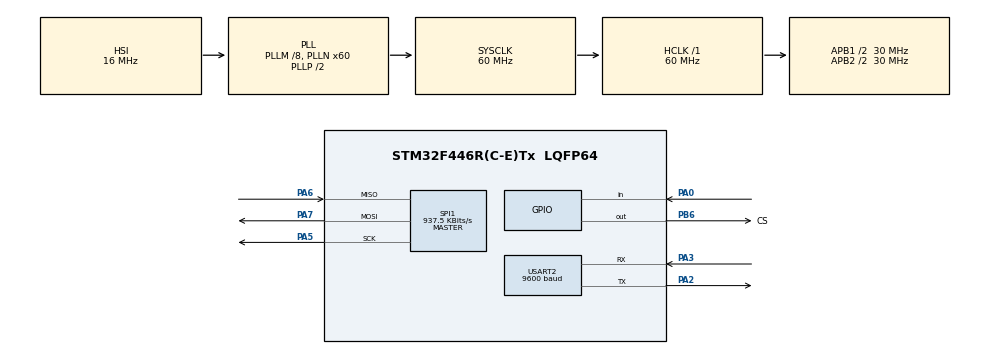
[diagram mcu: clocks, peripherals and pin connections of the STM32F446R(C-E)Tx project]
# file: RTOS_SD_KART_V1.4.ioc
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FREERTOS.Tasks01=defaultTask,0,128,StartDefaultTask,Default,NULL,Dynamic,NULL,NULL
FREERTOS.configUSE_NEWLIB_REENTRANT=1
Mcu.Family=STM32F4
Mcu.Name=STM32F446R(C-E)Tx
Mcu.Package=LQFP64
NVIC.PriorityGroup=NVIC_PRIORITYGROUP_4
NVIC.TIM1_UP_TIM10_IRQn=true\:5\:0\:false\:false\:true\:true\:true\:true\:true
NVIC.TIM6_DAC_IRQn=true\:15\:0\:false\:false\:true\:false\:false\:true\:true
NVIC.TimeBase=TIM6_DAC_IRQn
NVIC.TimeBaseIP=TIM6
PA0-WKUP.Signal=GPIO_Input
PA2.Mode=Asynchronous
PA2.Signal=USART2_TX
PA3.Mode=Asynchronous
PA3.Signal=USART2_RX
PA5.Mode=Full_Duplex_Master
PA5.Signal=SPI1_SCK
PA6.Mode=Full_Duplex_Master
PA6.Signal=SPI1_MISO
PA7.Mode=Full_Duplex_Master
PA7.Signal=SPI1_MOSI
PB6.GPIO_Label=CS
PB6.Signal=GPIO_Output
PH0-OSC_IN.Mode=HSE-External-Oscillator
PH0-OSC_IN.Signal=RCC_OSC_IN
PH1-OSC_OUT.Mode=HSE-External-Oscillator
PH1-OSC_OUT.Signal=RCC_OSC_OUT
ProjectManager.HeapSize=0x200
ProjectManager.StackSize=0x400
ProjectManager.TargetToolchain=STM32CubeIDE
RCC.AHBFreq_Value=60000000
RCC.APB1CLKDivider=RCC_HCLK_DIV2
RCC.APB1Freq_Value=30000000
RCC.APB1TimFreq_Value=60000000
RCC.APB2CLKDivider=RCC_HCLK_DIV2
RCC.APB2Freq_Value=30000000
RCC.APB2TimFreq_Value=60000000
RCC.CortexFreq_Value=60000000
RCC.FLatency-AdvancedSettings=FLASH_LATENCY_1
RCC.HCLKFreq_Value=60000000
RCC.HSE_VALUE=8000000
RCC.HSI_VALUE=16000000
RCC.LSE_VALUE=32768
RCC.PLLM=8
RCC.PLLN=60
RCC.SYSCLKFreq_VALUE=60000000
RCC.SYSCLKSource=RCC_SYSCLKSOURCE_PLLCLK
RCC.USBFreq_Value=60000000
RCC.VCOOutputFreq_Value=120000000
SPI1.BaudRatePrescaler=SPI_BAUDRATEPRESCALER_32
SPI1.CalculateBaudRate=937.5 KBits/s
SPI1.Direction=SPI_DIRECTION_2LINES
SPI1.Mode=SPI_MODE_MASTER
SPI1.VirtualType=VM_MASTER
TIM1.Period=2000-1
TIM1.Prescaler=60000-1
TIM1.TIM_MasterOutputTrigger=TIM_TRGO_UPDATE
TIM7.Period=0xffff-1
TIM7.Prescaler=60-1
USART2.BaudRate=9600
USART2.VirtualMode=VM_ASYNC
VP_FATFS_VS_Generic.Mode=User_defined
VP_FREERTOS_VS_CMSIS_V1.Mode=CMSIS_V1
VP_SYS_VS_tim6.Mode=TIM6
VP_TIM1_VS_ClockSourceINT.Mode=Internal
VP_TIM7_VS_ClockSourceINT.Mode=Enable_Timer
board=NUCLEO-F446RE

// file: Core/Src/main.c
/* USER CODE BEGIN Header */
/**
  ******************************************************************************
  * @file           : main.c
  * @brief          : Main program body
  ******************************************************************************
  * @attention
  *
  * Copyright (c) 2024 STMicroelectronics.
  * All rights reserved.
  *
  * This software is licensed under terms that can be found in the LICENSE file
  * in the root directory of this software component.
  * If no LICENSE file comes with this software, it is provided AS-IS.
  *
  ******************************************************************************
  */
/* USER CODE END Header */
#include "main.h"
#include "cmsis_os.h"
#include "fatfs.h"

/* USER CODE BEGIN Includes */
#include "FreeRTOS.h"
#include "task.h"
#include "timers.h"
#include "queue.h"
#include "semphr.h"
#include "event_groups.h"

#include "DHT11.h"
#include "File_Handling_RTOS.h"
#include "UART.h"
/* USER CODE END Includes */

SPI_HandleTypeDef hspi1;

TIM_HandleTypeDef htim1;
TIM_HandleTypeDef htim7;

UART_HandleTypeDef huart2;

osThreadId defaultTaskHandle;

void SystemClock_Config(void);
static void MX_GPIO_Init(void);
static void MX_SPI1_Init(void);
static void MX_TIM1_Init(void);
static void MX_TIM7_Init(void);
static void MX_USART2_UART_Init(void);
void StartDefaultTask(void const * argument);

/* USER CODE BEGIN 0 */
int Temperature = 0;
int  Humidity = 0;

xTaskHandle DHT_Task_Handler;
xTaskHandle SDCARD_Task_Handler;

uint8_t data_ready = 0;

void DHT_Task(void *argument) {

	char uart_buffer[2] = {0};
	char hum_buffer[2] = {0};

    while (1) {

        DHT11_Get_Data(&Temperature, &Humidity);
        data_ready = 1;  // Veri hazır bayrağını set et

        sprintf(uart_buffer, "%d", Temperature);
        SendTemperaturePacket((uint8_t*)uart_buffer,2);
        vTaskDelay(500);

        sprintf(hum_buffer, "%d", Humidity);
        SendHumidityPacket((uint8_t*)hum_buffer,2);
        vTaskDelay(500);

    }
}

void SDCARD_Task(void *argument) {

    int indx = 1;
    char buffer[50];

    while (1) {
        if (data_ready) {  // Veri hazırsa SD karta yaz
            Mount_SD("/");
            sprintf(buffer, "%d. Temp = %d C\t RH = %d \n", indx, Temperature, Humidity);

            Update_File("TEMP.TXT", buffer);
            Unmount_SD("/");

            indx++;
            data_ready = 0;  // Bayrağı sıfırla
        }
        vTaskDelay(1000);  // 1 saniye bekle
    }
}

/* USER CODE END 0 */

int main(void)
{

  /* MCU Configuration--------------------------------------------------------*/

  /* Reset of all peripherals, Initializes the Flash interface and the Systick. */
  HAL_Init();

  /* Configure the system clock */
  SystemClock_Config();

  /* Initialize all configured peripherals */
  MX_GPIO_Init();
  MX_SPI1_Init();
  MX_TIM1_Init();
  MX_TIM7_Init();
  MX_USART2_UART_Init();
  MX_FATFS_Init();
  /* USER CODE BEGIN 2 */

  Mount_SD("/");
  Format_SD();
  Create_File("TEMP.TXT");
  Unmount_SD("/");

//  xTaskCreate(DHT_Task, "DHT", 128, NULL, 1, &SDCARD_Task_Handler);
  xTaskCreate(DHT_Task, "DHT", configMINIMAL_STACK_SIZE * 2, NULL, 2, NULL);

  xTaskCreate(SDCARD_Task, "SD", 128, NULL, 1, &SDCARD_Task_Handler);

  HAL_TIM_Base_Start(&htim7);  // us delay timer
  HAL_TIM_Base_Start_IT(&htim1); // periodic delay timer

  vTaskStartScheduler();

  /* USER CODE END 2 */

  /* Create the thread(s) */
  /* definition and creation of defaultTask */
  osThreadDef(defaultTask, StartDefaultTask, osPriorityNormal, 0, 128);
  defaultTaskHandle = osThreadCreate(osThread(defaultTask), NULL);

  /* Start scheduler */
  osKernelStart();

  /* We should never get here as control is now taken by the scheduler */

  /* Infinite loop */
  while (1)
  {

  }
}

void SystemClock_Config(void)
{
  RCC_OscInitTypeDef RCC_OscInitStruct = {0};
  RCC_ClkInitTypeDef RCC_ClkInitStruct = {0};

  /** Configure the main internal regulator output voltage
  */
  __HAL_RCC_PWR_CLK_ENABLE();
  __HAL_PWR_VOLTAGESCALING_CONFIG(PWR_REGULATOR_VOLTAGE_SCALE3);

  /** Initializes the RCC Oscillators according to the specified parameters
  * in the RCC_OscInitTypeDef structure.
  */
  RCC_OscInitStruct.OscillatorType = RCC_OSCILLATORTYPE_HSI;
  RCC_OscInitStruct.HSIState = RCC_HSI_ON;
  RCC_OscInitStruct.HSICalibrationValue = RCC_HSICALIBRATION_DEFAULT;
  RCC_OscInitStruct.PLL.PLLState = RCC_PLL_ON;
  RCC_OscInitStruct.PLL.PLLSource = RCC_PLLSOURCE_HSI;
  RCC_OscInitStruct.PLL.PLLM = 8;
  RCC_OscInitStruct.PLL.PLLN = 60;
  RCC_OscInitStruct.PLL.PLLP = RCC_PLLP_DIV2;
  RCC_OscInitStruct.PLL.PLLQ = 2;
  RCC_OscInitStruct.PLL.PLLR = 2;
  if (HAL_RCC_OscConfig(&RCC_OscInitStruct) != HAL_OK)
  {
    Error_Handler();
  }

  /** Initializes the CPU, AHB and APB buses clocks
  */
  RCC_ClkInitStruct.ClockType = RCC_CLOCKTYPE_HCLK|RCC_CLOCKTYPE_SYSCLK
                              |RCC_CLOCKTYPE_PCLK1|RCC_CLOCKTYPE_PCLK2;
  RCC_ClkInitStruct.SYSCLKSource = RCC_SYSCLKSOURCE_PLLCLK;
  RCC_ClkInitStruct.AHBCLKDivider = RCC_SYSCLK_DIV1;
  RCC_ClkInitStruct.APB1CLKDivider = RCC_HCLK_DIV2;
  RCC_ClkInitStruct.APB2CLKDivider = RCC_HCLK_DIV2;

  if (HAL_RCC_ClockConfig(&RCC_ClkInitStruct, FLASH_LATENCY_1) != HAL_OK)
  {
    Error_Handler();
  }
}

static void MX_SPI1_Init(void)
{

  /* SPI1 parameter configuration*/
  hspi1.Instance = SPI1;
  hspi1.Init.Mode = SPI_MODE_MASTER;
  hspi1.Init.Direction = SPI_DIRECTION_2LINES;
  hspi1.Init.DataSize = SPI_DATASIZE_8BIT;
  hspi1.Init.CLKPolarity = SPI_POLARITY_LOW;
  hspi1.Init.CLKPhase = SPI_PHASE_1EDGE;
  hspi1.Init.NSS = SPI_NSS_SOFT;
  hspi1.Init.BaudRatePrescaler = SPI_BAUDRATEPRESCALER_32;
  hspi1.Init.FirstBit = SPI_FIRSTBIT_MSB;
  hspi1.Init.TIMode = SPI_TIMODE_DISABLE;
  hspi1.Init.CRCCalculation = SPI_CRCCALCULATION_DISABLE;
  hspi1.Init.CRCPolynomial = 10;
  if (HAL_SPI_Init(&hspi1) != HAL_OK)
  {
    Error_Handler();
  }

}

static void MX_TIM1_Init(void)
{

  TIM_ClockConfigTypeDef sClockSourceConfig = {0};
  TIM_MasterConfigTypeDef sMasterConfig = {0};

  htim1.Instance = TIM1;
  htim1.Init.Prescaler = 60000-1;
  htim1.Init.CounterMode = TIM_COUNTERMODE_UP;
  htim1.Init.Period = 2000-1;
  htim1.Init.ClockDivision = TIM_CLOCKDIVISION_DIV1;
  htim1.Init.RepetitionCounter = 0;
  htim1.Init.AutoReloadPreload = TIM_AUTORELOAD_PRELOAD_DISABLE;
  if (HAL_TIM_Base_Init(&htim1) != HAL_OK)
  {
    Error_Handler();
  }
  sClockSourceConfig.ClockSource = TIM_CLOCKSOURCE_INTERNAL;
  if (HAL_TIM_ConfigClockSource(&htim1, &sClockSourceConfig) != HAL_OK)
  {
    Error_Handler();
  }
  sMasterConfig.MasterOutputTrigger = TIM_TRGO_UPDATE;
  sMasterConfig.MasterSlaveMode = TIM_MASTERSLAVEMODE_DISABLE;
  if (HAL_TIMEx_MasterConfigSynchronization(&htim1, &sMasterConfig) != HAL_OK)
  {
    Error_Handler();
  }

}

static void MX_TIM7_Init(void)
{

  TIM_MasterConfigTypeDef sMasterConfig = {0};

  htim7.Instance = TIM7;
  htim7.Init.Prescaler = 60-1;
  htim7.Init.CounterMode = TIM_COUNTERMODE_UP;
  htim7.Init.Period = 0xffff-1;
  htim7.Init.AutoReloadPreload = TIM_AUTORELOAD_PRELOAD_DISABLE;
  if (HAL_TIM_Base_Init(&htim7) != HAL_OK)
  {
    Error_Handler();
  }
  sMasterConfig.MasterOutputTrigger = TIM_TRGO_RESET;
  sMasterConfig.MasterSlaveMode = TIM_MASTERSLAVEMODE_DISABLE;
  if (HAL_TIMEx_MasterConfigSynchronization(&htim7, &sMasterConfig) != HAL_OK)
  {
    Error_Handler();
  }

}

static void MX_USART2_UART_Init(void)
{

  huart2.Instance = USART2;
  huart2.Init.BaudRate = 9600;
  huart2.Init.WordLength = UART_WORDLENGTH_8B;
  huart2.Init.StopBits = UART_STOPBITS_1;
  huart2.Init.Parity = UART_PARITY_NONE;
  huart2.Init.Mode = UART_MODE_TX_RX;
  huart2.Init.HwFlowCtl = UART_HWCONTROL_NONE;
  huart2.Init.OverSampling = UART_OVERSAMPLING_16;
  if (HAL_UART_Init(&huart2) != HAL_OK)
  {
    Error_Handler();
  }

}

static void MX_GPIO_Init(void)
{
  GPIO_InitTypeDef GPIO_InitStruct = {0};

  /* GPIO Ports Clock Enable */
  __HAL_RCC_GPIOH_CLK_ENABLE();
  __HAL_RCC_GPIOA_CLK_ENABLE();
  __HAL_RCC_GPIOB_CLK_ENABLE();

  /*Configure GPIO pin Output Level */
  HAL_GPIO_WritePin(CS_GPIO_Port, CS_Pin, GPIO_PIN_RESET);

  /*Configure GPIO pin : PA0 */
  GPIO_InitStruct.Pin = GPIO_PIN_0;
  GPIO_InitStruct.Mode = GPIO_MODE_INPUT;
  GPIO_InitStruct.Pull = GPIO_NOPULL;
  HAL_GPIO_Init(GPIOA, &GPIO_InitStruct);

  /*Configure GPIO pin : CS_Pin */
  GPIO_InitStruct.Pin = CS_Pin;
  GPIO_InitStruct.Mode = GPIO_MODE_OUTPUT_PP;
  GPIO_InitStruct.Pull = GPIO_NOPULL;
  GPIO_InitStruct.Speed = GPIO_SPEED_FREQ_LOW;
  HAL_GPIO_Init(CS_GPIO_Port, &GPIO_InitStruct);

}

void StartDefaultTask(void const * argument)
{
  for(;;)
  {
    osDelay(1);
  }
}

void HAL_TIM_PeriodElapsedCallback(TIM_HandleTypeDef *htim)
{
  /* USER CODE BEGIN Callback 0 */
	if (htim->Instance == TIM1)
	{
		// release the semaphore here
		 /* The xHigherPriorityTaskWoken parameter must be initialized to pdFALSE as
		 it will get set to pdTRUE inside the interrupt safe API function if a
		 context switch is required. */
		BaseType_t xHigherPriorityTaskWoken = pdFALSE;

//		xSemaphoreGiveFromISR(DHT_SEM, &xHigherPriorityTaskWoken);  // ISR SAFE VERSION

		/* Pass the xHigherPriorityTaskWoken value into portEND_SWITCHING_ISR(). If
		 xHigherPriorityTaskWoken was set to pdTRUE inside xSemaphoreGiveFromISR()
		 then calling portEND_SWITCHING_ISR() will request a context switch. If
		 xHigherPriorityTaskWoken is still pdFALSE then calling
		 portEND_SWITCHING_ISR() will have no effect */

		portEND_SWITCHING_ISR( xHigherPriorityTaskWoken );
	}

  /* USER CODE END Callback 0 */
  if (htim->Instance == TIM6) {
    HAL_IncTick();
  }
}

void Error_Handler(void)
{
  __disable_irq();
  while (1)
  {
  }
}
